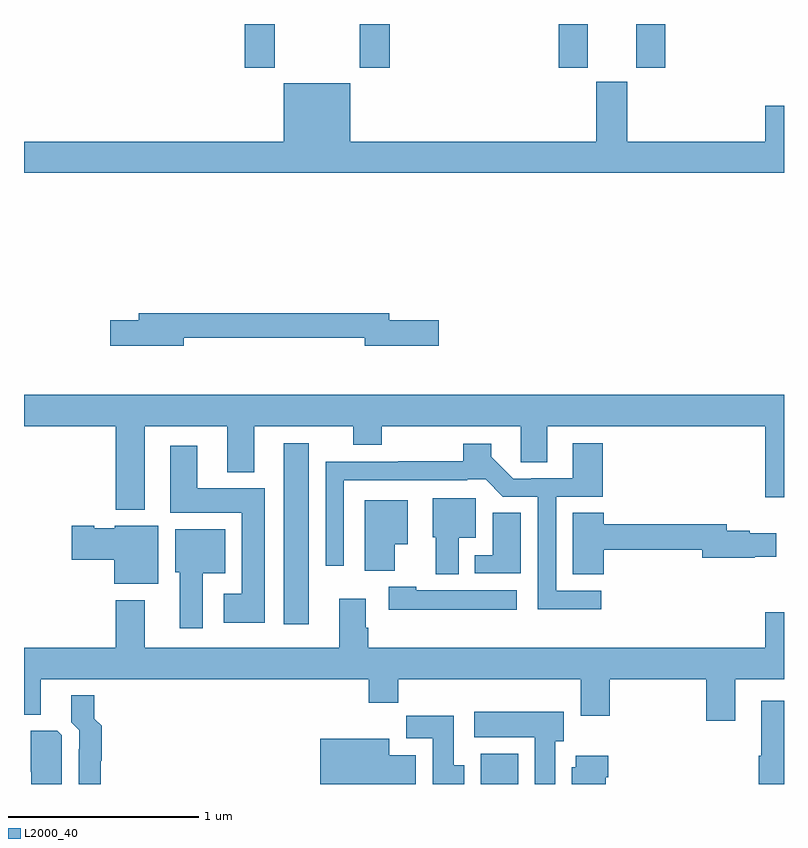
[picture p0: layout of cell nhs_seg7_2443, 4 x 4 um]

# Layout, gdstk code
import gdstk
lib = gdstk.Library(unit=1e-6, precision=1e-09)
def R(c, l, rs):  # rectangles x0, y0, x1, y1
    for r in rs: c.add(gdstk.rectangle(r[:2], r[2:], *l))
def P(c, l, *ps):  # polygons
    for p in ps: c.add(gdstk.Polygon(p, *l))
L2000_40 = (2000, 40)

nhs_seg7_2443 = lib.new_cell('nhs_seg7_2443')
R(nhs_seg7_2443, L2000_40, [(271.403,1064,271.6,1064.158), (270.368,1064.841,270.499,1065.793), (270.161,1067.769,270.321,1068), (270.766,1067.769,270.926,1068), (271.814,1067.769,271.966,1068), (272.222,1067.769,272.375,1068)])
P(nhs_seg7_2443, L2000_40, [(273,1067.569),(272.9,1067.569),(272.9,1067.38),(272.176,1067.38),(272.176,1067.697),(272.012,1067.697),(272.012,1067.38),(270.718,1067.38),(270.718,1067.689),(270.368,1067.689),(270.368,1067.38),(269,1067.38),(269,1067.216),(273,1067.216)],
  [(269.842,1066.35),(270.794,1066.35),(270.794,1066.307),(271.183,1066.307),(271.183,1066.442),(270.922,1066.442),(270.922,1066.478),(269.603,1066.478),(269.603,1066.442),(269.454,1066.442),(269.454,1066.307),(269.842,1066.307)],
  [(269.635,1065.884),(270.071,1065.884),(270.071,1065.641),(270.211,1065.641),(270.211,1065.884),(270.734,1065.884),(270.734,1065.785),(270.882,1065.785),(270.882,1065.884),(271.614,1065.884),(271.614,1065.694),(271.753,1065.694),(271.753,1065.884),(272.9,1065.884),(272.9,1065.51),(273,1065.51),(273,1066.048),(269,1066.048),(269,1065.884),(269.483,1065.884),(269.483,1065.443),(269.635,1065.443)],
  [(272.038,1065.018),(271.8,1065.018),(271.8,1065.513),(272.045,1065.513),(272.045,1065.793),(271.889,1065.793),(271.889,1065.609),(271.669,1065.609),(271.669,1065.606),(271.575,1065.606),(271.459,1065.722),(271.459,1065.79),(271.312,1065.79),(271.312,1065.698),(270.97,1065.698),(270.97,1065.696),(270.588,1065.696),(270.588,1065.15),(270.684,1065.15),(270.684,1065.6),(271.334,1065.6),(271.334,1065.603),(271.43,1065.603),(271.52,1065.513),(271.704,1065.513),(271.704,1064.921),(272.038,1064.921)],
  [(270.268,1065.556),(269.911,1065.556),(269.911,1065.781),(269.771,1065.781),(269.771,1065.428),(270.146,1065.428),(270.146,1065.001),(270.051,1065.001),(270.051,1064.849),(270.268,1064.849)],
  [(271.288,1065.296),(271.378,1065.296),(271.378,1065.505),(271.151,1065.505),(271.151,1065.3),(271.166,1065.3),(271.166,1065.104),(271.288,1065.104)],
  [(270.952,1065.263),(271.021,1065.263),(271.021,1065.493),(270.794,1065.493),(270.794,1065.123),(270.952,1065.123)],
  [(271.615,1065.428),(271.466,1065.428),(271.466,1065.204),(271.373,1065.204),(271.373,1065.108),(271.615,1065.108)],
  [(272.05,1065.232),(272.57,1065.232),(272.57,1065.19),(272.846,1065.19),(272.846,1065.197),(272.959,1065.197),(272.959,1065.319),(272.82,1065.319),(272.82,1065.332),(272.698,1065.332),(272.698,1065.368),(272.05,1065.368),(272.05,1065.428),(271.889,1065.428),(271.889,1065.103),(272.05,1065.103)],
  [(269.707,1065.358),(269.478,1065.358),(269.478,1065.346),(269.37,1065.346),(269.37,1065.359),(269.25,1065.359),(269.25,1065.181),(269.474,1065.181),(269.474,1065.053),(269.707,1065.053)],
  [(269.941,1065.11),(270.058,1065.11),(270.058,1065.34),(269.795,1065.34),(269.795,1065.114),(269.819,1065.114),(269.819,1064.82),(269.941,1064.82)],
  [(271.594,1065.019),(271.065,1065.019),(271.065,1065.037),(270.921,1065.037),(270.921,1064.918),(271.594,1064.918)],
  [(269,1064.365),(269.089,1064.365),(269.089,1064.552),(270.815,1064.552),(270.815,1064.428),(270.971,1064.428),(270.971,1064.552),(271.931,1064.552),(271.931,1064.358),(272.084,1064.358),(272.084,1064.552),(272.591,1064.552),(272.591,1064.334),(272.743,1064.334),(272.743,1064.552),(273,1064.552),(273,1064.905),(272.9,1064.905),(272.9,1064.716),(270.812,1064.716),(270.812,1064.822),(270.799,1064.822),(270.799,1064.974),(270.659,1064.974),(270.659,1064.716),(269.635,1064.716),(269.635,1064.968),(269.483,1064.968),(269.483,1064.716),(269,1064.716)],
  [(269.405,1064.122),(269.408,1064.122),(269.408,1064.306),(269.369,1064.344),(269.369,1064.467),(269.249,1064.467),(269.249,1064.326),(269.292,1064.283),(269.292,1064.183),(269.289,1064.183),(269.289,1064),(269.405,1064)],
  [(273,1064.437),(272.879,1064.437),(272.879,1064.148),(272.867,1064.148),(272.867,1064),(273,1064)],
  [(271.795,1064.226),(271.84,1064.226),(271.84,1064.38),(271.371,1064.38),(271.371,1064.246),(271.688,1064.246),(271.688,1064),(271.795,1064)],
  [(271.318,1064.1),(271.261,1064.1),(271.261,1064.359),(271.012,1064.359),(271.012,1064.24),(271.151,1064.24),(271.151,1064),(271.318,1064)],
  [(269.199,1064.256),(269.175,1064.28),(269.036,1064.28),(269.036,1064.065),(269.037,1064.065),(269.037,1064),(269.199,1064)],
  [(271.063,1064.152),(270.922,1064.152),(270.922,1064.239),(270.56,1064.239),(270.56,1064),(271.063,1064)],
  [(272.062,1064.036),(272.075,1064.036),(272.075,1064.149),(271.904,1064.149),(271.904,1064.088),(271.883,1064.088),(271.883,1064),(272.062,1064)])

lib.write_gds('nhs_seg7_2443.gds')
